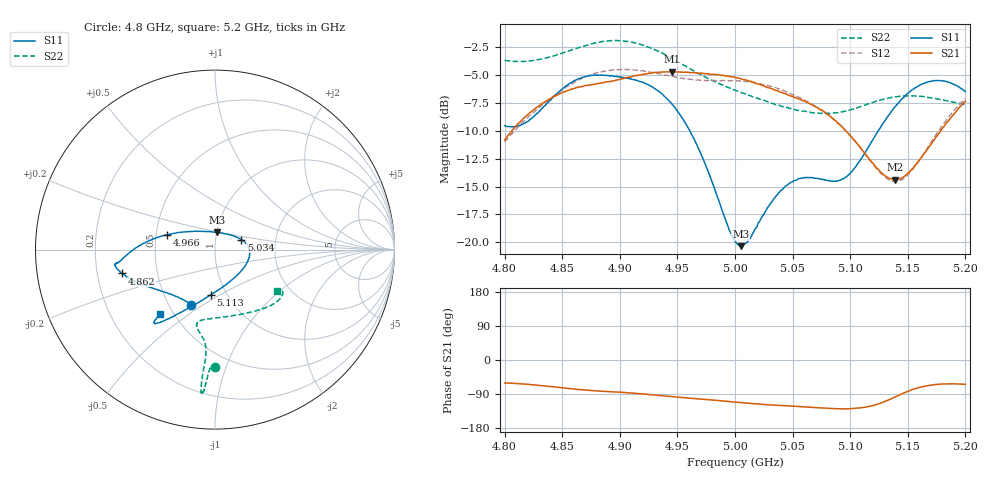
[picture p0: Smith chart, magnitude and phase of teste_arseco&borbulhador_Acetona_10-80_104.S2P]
! Network Analyzer HP8722D
! Hewlett-Packard
! Data name: Linha & Wilkinson
! Saver's name: Rodrigo Anjos
! Comments: Teste da utilização de aquisição
! continua pelo VNA HP8722D
! Time and date: 17/4/2025 15:13
!  Frequency  S11  S21  S12  S22
# HZ  S  MA R 50
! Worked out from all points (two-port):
!   401 points, 4.8 GHz to 5.2 GHz, reference 50 ohm
!   highest |S21| = -4.68 dB at 4.945 GHz (marker M1); lowest = -14.4 dB at 5.139 GHz (marker M2)
!   |S21| within 3 dB of the highest: 4.831 GHz to 5.067 GHz (236.6 MHz wide, 4.78 % of centre); 5.1968 GHz to end of sweep
!   lowest |S11| = -20.3 dB at 5.005 GHz (marker M3), VSWR 1.21, Z = 50 + j9.66 ohm
!   |S11| at or under -10 dB: 4.961 GHz to 5.124 GHz (163.4 MHz wide, 3.24 % of centre)
!   |S22| runs from -8.5 to -1.9 dB; largest |S21 - S12| = 0.87
!   S11 on the Smith chart (normalised r, x): 4.8 GHz: 0.65, -0.45; 4.862 GHz: 0.31, -0.11; 4.966 GHz: 0.57, +0.10; 5.034 GHz: 1.33, +0.15; 5.113 GHz: 0.84, -0.45; 5.2 GHz: 0.42, -0.39
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4.8e9  0.3342 -113.3  0.2879 -60.8  0.2818 -174.9  0.6552 -89.9
4.819e9  0.3465 -133.3  0.3698 -64.0  0.3578 -173.5  0.6509 -91.6
4.862e9  0.5358 -165.7  0.4952 -77.1  0.5297 -176.7  0.7415 -93.7
4.867e9  0.5479 -167.7  0.4994 -78.5  0.5439 -177.8  0.7558 -94.0
4.898e9  0.5537 -172.1  0.5363 -84.6  0.5945 175.8  0.8045 -95.1
4.934e9  0.4754 -178.1  0.5797 -93.5  0.571 171.9  0.7166 -95.8
4.945e9  0.4198 176.8  0.5836 -96.6  0.5562 172.0  0.6701 -95.4
4.966e9  0.2799 162.8  0.5765 -102.0  0.5349 173.9  0.5804 -95.1
5e9  0.1016 102.0  0.5487 -111.3  0.5303 176.2  0.4818 -99.1
5.005e9  0.0961 84.3  0.5422 -112.4  0.5282 176.2  0.4706 -100.3
5.012e9  0.1026 61.3  0.5289 -114.2  0.5241 176.1  0.4566 -101.8
5.034e9  0.1574 20.9  0.4827 -119.1  0.4961 174.9  0.4176 -103.5
5.049e9  0.1862 5.4  0.4532 -121.5  0.4635 174.2  0.3969 -99.9
5.067e9  0.1946 -13.8  0.4148 -124.9  0.4173 173.6  0.3815 -90.7
5.093e9  0.1921 -57.9  0.3297 -128.8  0.3286 174.2  0.3849 -70.6
5.113e9  0.2531 -95.3  0.2493 -124.4  0.2494 180.0  0.4137 -55.0
5.134e9  0.3755 -116.3  0.1936 -104.6  0.1902 -157.4  0.4451 -43.0
5.139e9  0.4063 -119.4  0.1912 -97.6  0.188 -149.5  0.4498 -40.7
5.151e9  0.4703 -124.4  0.206 -81.6  0.2039 -131.0  0.4546 -36.4
5.17e9  0.5281 -128.8  0.2743 -66.3  0.2801 -112.5  0.4456 -31.9
5.184e9  0.5257 -130.1  0.346 -63.0  0.3572 -107.2  0.432 -30.9
5.2e9  0.4748 -130.5  0.4295 -64.4  0.4418 -106.4  0.415 -33.3
